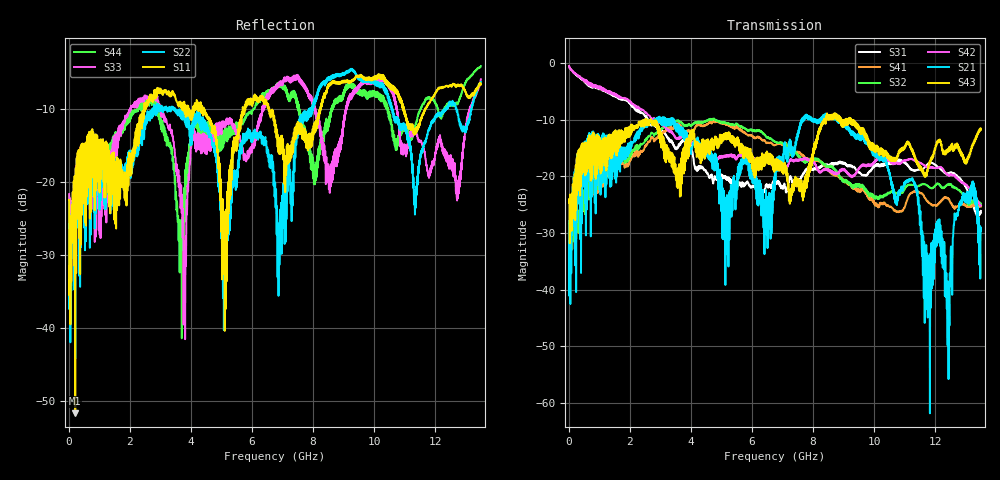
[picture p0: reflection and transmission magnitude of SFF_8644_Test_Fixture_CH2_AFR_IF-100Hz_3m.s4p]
!Keysight Technologies,N5231B,MY57181281,A.17.25.05
!Date: Friday, March 07, 2025 17:05:46
!Correction: S11(C  4-Port  )
!S12(C  4-Port  )
!S13(C  4-Port  )
!S14(C  4-Port  )
!S21(C  4-Port  )
!S22(C  4-Port  )
!S23(C  4-Port  )
!S24(C  4-Port  )
!S31(C  4-Port  )
!S32(C  4-Port  )
!S33(C  4-Port  )
!S34(C  4-Port  )
!S41(C  4-Port  )
!S42(C  4-Port  )
!S43(C  4-Port  )
!S44(C  4-Port  )
!S4P File: Measurements: <S11,S12,S13,S14>,
!<S21,S22,S23,S24>,
!<S31,S32,S33,S34>,
!<S41,S42,S43,S44>:
# Hz S  dB  R 50
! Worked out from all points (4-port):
!   1350 points, 10 MHz to 13.5 GHz, reference 50 ohm
!   strongest paths, dB at 10 MHz, 3.38 GHz, 6.76 GHz, 10.13 GHz, 13.5 GHz:
!     S43: -24.6, -17.7, -18.9, -14.8, -11.7
!     S21: -27.8, -10.0, -18.7, -16.1, -29.6
!     S42: -0.5, -12.2, -17.7, -16.8, -25.1
!     S32: -31.6, -10.8, -13.9, -23.8, -24.8
!     S41: -31.6, -11.7, -14.5, -25.2, -25.3
!     S31: -0.5, -13.9, -21.2, -18.1, -26.1
!   lowest |S11| = -51.7 dB at 210 MHz (marker M1), VSWR 1.01, Z = 49.9 + j0.218 ohm
!   |S11| at or under -10 dB: start of sweep to 2.473 GHz; 4.423 GHz to 5.697 GHz (1.274 GHz wide, 25.2 % of centre); 6.57 GHz to 8.236 GHz (1.666 GHz wide, 22.5 % of centre)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
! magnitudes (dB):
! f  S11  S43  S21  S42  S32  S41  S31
! 10 MHz  -22.4  -24.6  -27.8  -0.5  -31.6  -31.6  -0.5
! 210 MHz  -51.7  -27.7  -35.7  -1.8  -31.3  -31.2  -1.8
! 3.41 GHz  -7.5  -18.6  -10.4  -12.4  -10.7  -11.7  -14.1
! 3.79 GHz  -10.0  -15.1  -13.6  -12.8  -10.9  -12.0  -13.7
! 5.09 GHz  -28.6  -13.4  -27.6  -16.6  -10.4  -10.5  -20.3
! 8.45 GHz  -7.8  -9.5  -9.4  -18.6  -18.1  -18.5  -17.9
! 13.5 GHz  -6.6  -11.7  -29.6  -25.1  -24.8  -25.3  -26.1
